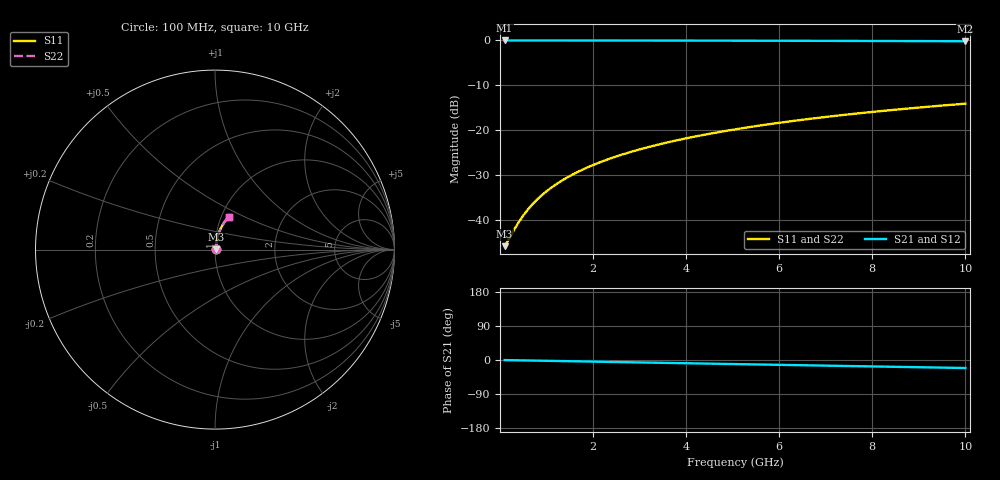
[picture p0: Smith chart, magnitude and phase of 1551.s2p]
# Hz S RI R 50.00
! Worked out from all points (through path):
!   100 points, 100 MHz to 10 GHz, reference 50 ohm
!   highest |S21| = -0.04 dB at 100 MHz (marker M1); lowest = -0.2 dB at 10 GHz (marker M2)
!   group delay of S21, straight-line fit = 5.88 ps
!   lowest |S11| = -45.8 dB at 100 MHz (marker M3), VSWR 1.01, Z = 50.5 + j0.204 ohm
!   |S11| at or under -10 dB: start of sweep to end of sweep
!   |S22| runs from -45.8 to -14.1 dB; largest |S21 - S12| = 0
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1e8  0.00472 0.00202  0.9953 -0.00371  0.9953 -0.00371  0.00472 0.00202
2e8  0.00478 0.00404  0.9952 -0.00741  0.9952 -0.00741  0.00478 0.00404
4e8  0.00491 0.00808  0.9951 -0.0148  0.9951 -0.0148  0.00491 0.00808
5e8  0.00499 0.0101  0.995 -0.0185  0.995 -0.0185  0.00499 0.0101
6e8  0.00509 0.0121  0.9949 -0.0222  0.9949 -0.0222  0.00509 0.0121
7e8  0.0052 0.0141  0.9947 -0.0259  0.9947 -0.0259  0.0052 0.0141
8e8  0.00532 0.0162  0.9946 -0.0296  0.9946 -0.0296  0.00532 0.0162
1e9  0.00561 0.0202  0.9942 -0.037  0.9942 -0.037  0.00561 0.0202
1.2e9  0.00596 0.0242  0.9938 -0.0444  0.9938 -0.0444  0.00596 0.0242
1.5e9  0.00659 0.0302  0.9931 -0.0555  0.9931 -0.0555  0.00659 0.0302
1.8e9  0.00735 0.0362  0.9922 -0.0666  0.9922 -0.0666  0.00735 0.0362
2.1e9  0.00825 0.0422  0.9911 -0.0776  0.9911 -0.0776  0.00825 0.0422
2.5e9  0.00965 0.0502  0.9894 -0.0923  0.9894 -0.0923  0.00965 0.0502
2.9e9  0.0113 0.0581  0.9875 -0.107  0.9875 -0.107  0.0113 0.0581
3.4e9  0.0136 0.0678  0.9847 -0.1252  0.9847 -0.1252  0.0136 0.0678
4.2e9  0.0182 0.0833  0.9792 -0.1542  0.9792 -0.1542  0.0182 0.0833
5.1e9  0.0243 0.1002  0.9719 -0.1864  0.9719 -0.1864  0.0243 0.1002
5.9e9  0.0307 0.1149  0.9642 -0.2146  0.9642 -0.2146  0.0307 0.1149
6.7e9  0.0379 0.1291  0.9555 -0.2424  0.9555 -0.2424  0.0379 0.1291
7.5e9  0.046 0.1429  0.9458 -0.2697  0.9458 -0.2697  0.046 0.1429
8.4e9  0.0559 0.1577  0.9338 -0.2999  0.9338 -0.2999  0.0559 0.1577
1e10  0.0758 0.1821  0.9096 -0.3516  0.9096 -0.3516  0.0758 0.1821
